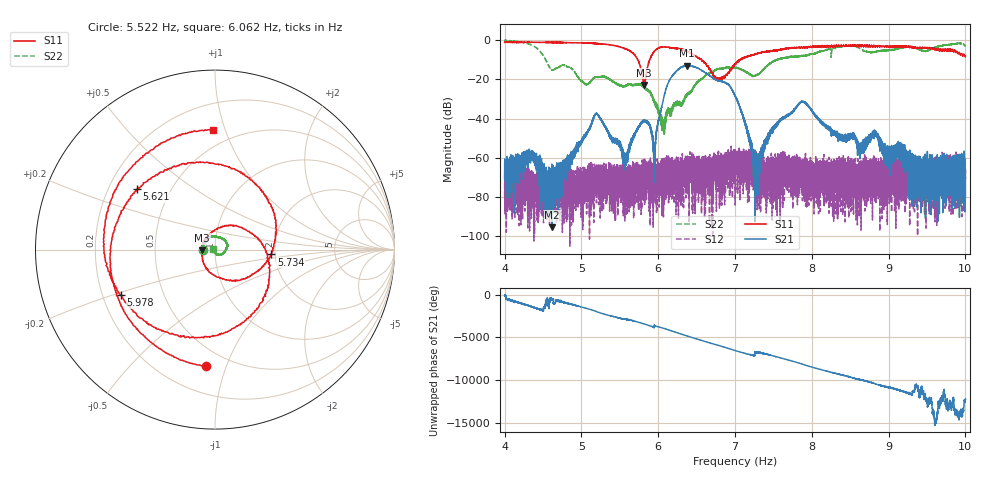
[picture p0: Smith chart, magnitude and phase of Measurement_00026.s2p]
!Created with skrf (http://scikit-rf.org).
# Hz S RI R 50.0
!freq ReS11 ImS11 ReS21 ImS21 ReS12 ImS12 ReS22 ImS22
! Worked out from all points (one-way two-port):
!   14001 points, 4 Hz to 10 Hz, reference 50 ohm
!   highest |S21| = -13.07 dB at 6.369 Hz (marker M1); lowest = -95.5 dB at 4.619 Hz (marker M2)
!   lowest |S11| = -22.9 dB at 5.814 Hz (marker M3), VSWR 1.15, Z = 43.3 - j0.323 ohm
!   |S11| at or under -10 dB: 5.734 Hz to 5.889 Hz (155.4 mHz wide, 2.67 % of centre); 6.563 Hz to 7.06 Hz (497.4 mHz wide, 7.3 % of centre); 7.060536 Hz to 7.064998 Hz (4.462 mHz wide, 0.0632 % of centre) (the widest 3 of 11)
!   |S22| runs from -48.0 to -0.2 dB; largest |S21 - S12| = 0.22
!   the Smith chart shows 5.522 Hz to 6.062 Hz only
!   S11 on the Smith chart (normalised r, x): 5.522 Hz: 0.38, -0.85; 5.621 Hz: 0.32, +0.31; 5.734 Hz: 1.91, -0.12; 5.978 Hz: 0.28, -0.21; 6.062 Hz: 0.38, +0.91
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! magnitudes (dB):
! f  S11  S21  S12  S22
! 4 Hz  -1.1  -70.4  -80.0  -0.2
! 4.346 Hz  -1.1  -59.3  -72.2  -2.5
! 4.619 Hz  -1.2  -95.5  -71.9  -15.1
! 5 Hz  -1.4  -51.9  -71.1  -20.7
! 5.201 Hz  -1.8  -37.7  -76.0  -18.8
! 5.522 Hz  -3.7  -55.4  -68.4  -23.2
! 5.621 Hz  -5.2  -55.2  -67.3  -22.3
! 5.734 Hz  -10.0  -44.7  -69.7  -22.6
! 5.814 Hz  -22.9  -41.4  -72.5  -23.8
! 5.941 Hz  -6.1  -58.4  -64.6  -30.8
! 5.978 Hz  -4.7  -46.1  -65.5  -33.0
! 6 Hz  -4.1  -41.5  -63.1  -35.0
! 6.062 Hz  -3.5  -30.9  -74.2  -41.2
! 6.369 Hz  -5.5  -13.1  -68.2  -27.8
! 6.776 Hz  -20.2  -20.6  -63.5  -14.7
! 7 Hz  -12.3  -28.4  -60.3  -14.0
! 7.288 Hz  -6.9  -61.5  -73.5  -17.6
! 7.583 Hz  -5.0  -41.3  -62.5  -9.5
! 8 Hz  -3.6  -35.6  -61.7  -6.9
! 8.83 Hz  -3.3  -48.1  -68.5  -5.9
! 9 Hz  -3.3  -58.5  -65.9  -5.0
! 10 Hz  -8.2  -66.8  -65.7  -3.1
